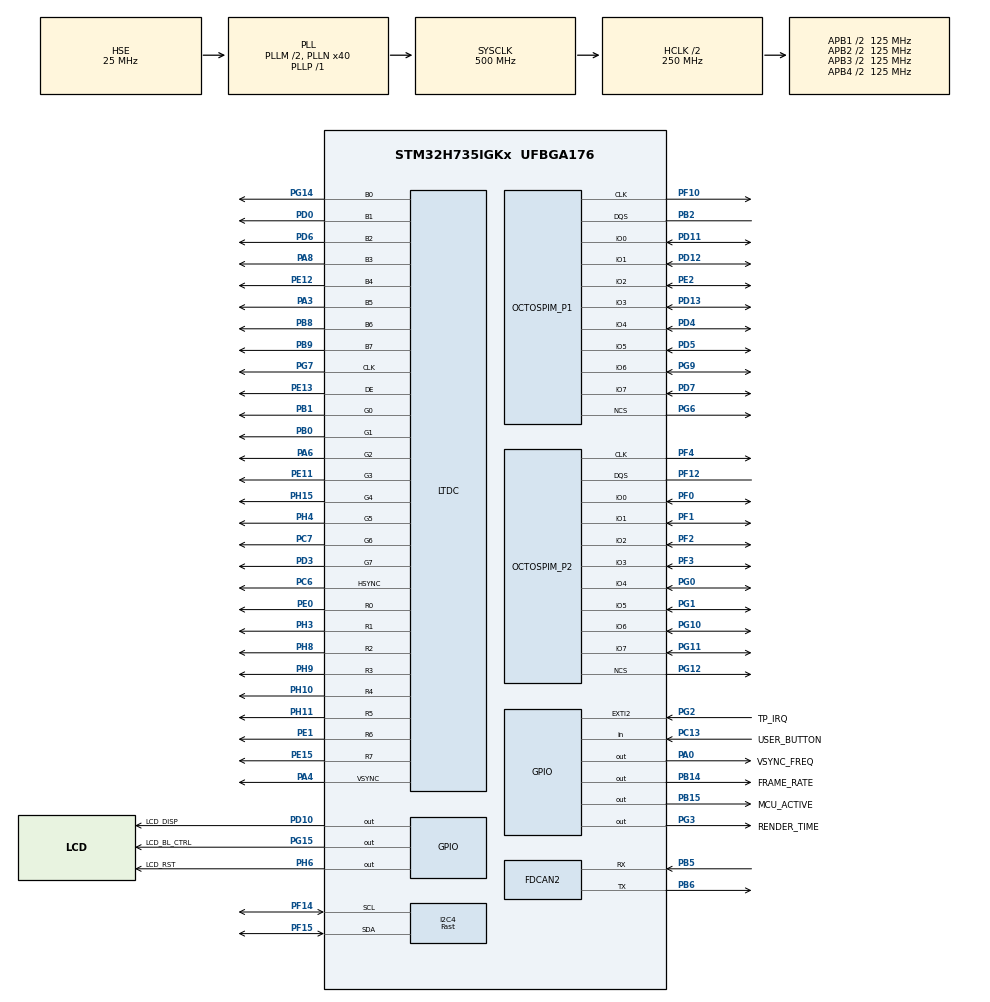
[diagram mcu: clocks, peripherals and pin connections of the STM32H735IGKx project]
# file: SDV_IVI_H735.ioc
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CORTEX_M7.AccessPermission-Cortex_Memory_Protection_Unit_Region0_Settings=MPU_REGION_FULL_ACCESS
CORTEX_M7.AccessPermission-Cortex_Memory_Protection_Unit_Region2_Settings=MPU_REGION_FULL_ACCESS
CORTEX_M7.AccessPermission-Cortex_Memory_Protection_Unit_Region4_Settings=MPU_REGION_FULL_ACCESS
CORTEX_M7.BaseAddress-Cortex_Memory_Protection_Unit_Region0_Settings=0x24000000
CORTEX_M7.BaseAddress-Cortex_Memory_Protection_Unit_Region1_Settings=0x70000000
CORTEX_M7.BaseAddress-Cortex_Memory_Protection_Unit_Region2_Settings=0x70000000
CORTEX_M7.BaseAddress-Cortex_Memory_Protection_Unit_Region3_Settings=0x90000000
CORTEX_M7.BaseAddress-Cortex_Memory_Protection_Unit_Region4_Settings=0x90000000
CORTEX_M7.CPU_DCache=Enabled
CORTEX_M7.CPU_ICache=Enabled
CORTEX_M7.DisableExec-Cortex_Memory_Protection_Unit_Region0_Settings=MPU_INSTRUCTION_ACCESS_DISABLE
CORTEX_M7.DisableExec-Cortex_Memory_Protection_Unit_Region1_Settings=MPU_INSTRUCTION_ACCESS_DISABLE
CORTEX_M7.DisableExec-Cortex_Memory_Protection_Unit_Region2_Settings=MPU_INSTRUCTION_ACCESS_DISABLE
CORTEX_M7.DisableExec-Cortex_Memory_Protection_Unit_Region3_Settings=MPU_INSTRUCTION_ACCESS_DISABLE
CORTEX_M7.DisableExec-Cortex_Memory_Protection_Unit_Region4_Settings=MPU_INSTRUCTION_ACCESS_DISABLE
CORTEX_M7.Enable-Cortex_Memory_Protection_Unit_Region0_Settings=MPU_REGION_ENABLE
CORTEX_M7.Enable-Cortex_Memory_Protection_Unit_Region1_Settings=MPU_REGION_ENABLE
CORTEX_M7.Enable-Cortex_Memory_Protection_Unit_Region2_Settings=MPU_REGION_ENABLE
CORTEX_M7.Enable-Cortex_Memory_Protection_Unit_Region3_Settings=MPU_REGION_ENABLE
CORTEX_M7.Enable-Cortex_Memory_Protection_Unit_Region4_Settings=MPU_REGION_ENABLE
CORTEX_M7.IsBufferable-Cortex_Memory_Protection_Unit_Region0_Settings=MPU_ACCESS_BUFFERABLE
CORTEX_M7.IsBufferable-Cortex_Memory_Protection_Unit_Region2_Settings=MPU_ACCESS_BUFFERABLE
CORTEX_M7.IsCacheable-Cortex_Memory_Protection_Unit_Region0_Settings=MPU_ACCESS_CACHEABLE
CORTEX_M7.IsCacheable-Cortex_Memory_Protection_Unit_Region2_Settings=MPU_ACCESS_CACHEABLE
CORTEX_M7.IsCacheable-Cortex_Memory_Protection_Unit_Region4_Settings=MPU_ACCESS_CACHEABLE
CORTEX_M7.MPU_Control=MPU_PRIVILEGED_DEFAULT
CORTEX_M7.Size-Cortex_Memory_Protection_Unit_Region0_Settings=MPU_REGION_SIZE_512KB
CORTEX_M7.Size-Cortex_Memory_Protection_Unit_Region1_Settings=MPU_REGION_SIZE_512MB
CORTEX_M7.Size-Cortex_Memory_Protection_Unit_Region2_Settings=MPU_REGION_SIZE_16MB
CORTEX_M7.Size-Cortex_Memory_Protection_Unit_Region3_Settings=MPU_REGION_SIZE_512MB
CORTEX_M7.Size-Cortex_Memory_Protection_Unit_Region4_Settings=MPU_REGION_SIZE_64MB
DMA2D.ColorMode=DMA2D_OUTPUT_RGB888
DMA2D.Mode=DMA2D_R2M
FDCAN2.CalculateBaudRateNominal=500000
FDCAN2.CalculateTimeBitNominal=2000
FDCAN2.CalculateTimeQuantumNominal=200.0
FDCAN2.DataTimeSeg1=7
FDCAN2.DataTimeSeg2=2
FDCAN2.Mode=FDCAN_MODE_INTERNAL_LOOPBACK
FDCAN2.NominalPrescaler=5
FDCAN2.NominalTimeSeg1=7
FDCAN2.NominalTimeSeg2=2
FDCAN2.RxFifo0ElmtsNbr=8
FDCAN2.StdFiltersNbr=1
FDCAN2.TxFifoQueueElmtsNbr=8
FREERTOS.Tasks01=defaultTask,24,128,StartDefaultTask,Default,NULL,Dynamic,NULL,NULL;TouchGFXTask,24,1024,TouchGFX_Task,As external,NULL,Dynamic,NULL,NULL;videoTask,8,1024,videoTaskFunc,As external,NULL,Dynamic,NULL,NULL
FREERTOS.configTOTAL_HEAP_SIZE=75000
FREERTOS.configUSE_APPLICATION_TASK_TAG=1
FREERTOS.configUSE_IDLE_HOOK=1
FREERTOS.configUSE_NEWLIB_REENTRANT=1
I2C4.I2C_Speed_Mode=I2C_Fast
I2C4.Timing=0x00C042E4
LIBJPEG.RGB_ORDERING=BGR
LTDC.ActiveH=272
LTDC.ActiveW=480
LTDC.Alpha_L0=255
LTDC.FBStartAdress_L0=0x70000000
LTDC.FBStartAdress_L1=0x70000000
LTDC.HBP=13
LTDC.HFP=32
LTDC.HSync=41
LTDC.ImageHeight_L0=272
LTDC.ImageWidth_L0=480
LTDC.Layers=0
LTDC.PixelFormat_L0=LTDC_PIXEL_FORMAT_RGB888
LTDC.VSync=10
LTDC.WindowX1_L0=480
LTDC.WindowY1_L0=272
Mcu.Family=STM32H7
Mcu.Name=STM32H735IGKx
Mcu.Package=UFBGA176
NVIC.DMA2D_IRQn=true\:5\:0\:true\:false\:true\:false\:true\:true\:true
NVIC.EXTI2_IRQn=true\:5\:0\:false\:false\:true\:true\:true\:true\:true
NVIC.FDCAN2_IT0_IRQn=true\:5\:0\:false\:false\:true\:true\:true\:true\:true
NVIC.LTDC_IRQn=true\:5\:0\:true\:false\:true\:false\:true\:true\:true
NVIC.PriorityGroup=NVIC_PRIORITYGROUP_4
NVIC.TIM6_DAC_IRQn=true\:0\:0\:false\:false\:true\:false\:false\:true\:true
NVIC.TimeBase=TIM6_DAC_IRQn
NVIC.TimeBaseIP=TIM6
OCTOSPI1.ChipSelectBoundary=0
OCTOSPI1.ChipSelectHighTime=2
OCTOSPI1.ClockPrescaler=2
OCTOSPI1.FifoThreshold=4
OCTOSPI1.MemoryType=HAL_OSPI_MEMTYPE_MACRONIX
OCTOSPI2.AccessTime=6
OCTOSPI2.ChipSelectBoundary=23
OCTOSPI2.ChipSelectHighTime=4
OCTOSPI2.ClkChipSelectHighTime=0
OCTOSPI2.ClockPrescaler=2
OCTOSPI2.DelayBlockBypass=HAL_OSPI_DELAY_BLOCK_USED
OCTOSPI2.DelayHoldQuarterCycle=HAL_OSPI_DHQC_ENABLE
OCTOSPI2.DeviceSize=24
OCTOSPI2.FifoThreshold=4
OCTOSPI2.LatencyMode=HAL_OSPI_FIXED_LATENCY
OCTOSPI2.RWRecoveryTime=3
OCTOSPI2.Refresh=400
OCTOSPI2.WriteZeroLatency=HAL_OSPI_LATENCY_ON_WRITE
PA0.GPIO_Label=VSYNC_FREQ
PA0.GPIO_Speed=GPIO_SPEED_FREQ_VERY_HIGH
PA0.Signal=GPIO_Output
PA3.GPIO_Speed=GPIO_SPEED_FREQ_VERY_HIGH
PA3.Mode=RGB888
PA3.Signal=LTDC_B5
PA4.GPIO_Speed=GPIO_SPEED_FREQ_VERY_HIGH
PA4.Mode=RGB888
PA4.Signal=LTDC_VSYNC
PA6.GPIO_Speed=GPIO_SPEED_FREQ_VERY_HIGH
PA6.Mode=RGB888
PA6.Signal=LTDC_G2
PA8.GPIO_Speed=GPIO_SPEED_FREQ_VERY_HIGH
PA8.Mode=RGB888
PA8.Signal=LTDC_B3
PB0.GPIO_Speed=GPIO_SPEED_FREQ_VERY_HIGH
PB0.Mode=RGB888
PB0.Signal=LTDC_G1
PB1.GPIO_Speed=GPIO_SPEED_FREQ_VERY_HIGH
PB1.Mode=RGB888
PB1.Signal=LTDC_G0
PB14.GPIO_Label=FRAME_RATE
PB14.GPIO_Speed=GPIO_SPEED_FREQ_VERY_HIGH
PB14.Signal=GPIO_Output
PB15.GPIO_Label=MCU_ACTIVE
PB15.GPIO_Speed=GPIO_SPEED_FREQ_VERY_HIGH
PB15.Signal=GPIO_Output
PB2.Mode=OCTOSPI1_Port1_DQS
PB2.Signal=OCTOSPIM_P1_DQS
PB5.Mode=FDCAN_Activate
PB5.Signal=FDCAN2_RX
PB6.Mode=FDCAN_Activate
PB6.Signal=FDCAN2_TX
PB8.GPIO_Speed=GPIO_SPEED_FREQ_VERY_HIGH
PB8.Mode=RGB888
PB8.Signal=LTDC_B6
PB9.GPIO_Speed=GPIO_SPEED_FREQ_VERY_HIGH
PB9.Mode=RGB888
PB9.Signal=LTDC_B7
PC13.GPIO_Label=USER_BUTTON
PC13.Signal=GPIO_Input
PC6.GPIO_Speed=GPIO_SPEED_FREQ_VERY_HIGH
PC6.Mode=RGB888
PC6.Signal=LTDC_HSYNC
PC7.GPIO_Speed=GPIO_SPEED_FREQ_VERY_HIGH
PC7.Mode=RGB888
PC7.Signal=LTDC_G6
PD0.GPIO_Speed=GPIO_SPEED_FREQ_VERY_HIGH
PD0.Mode=RGB888
PD0.Signal=LTDC_B1
PD10.GPIO_Label=LCD_DISP
PD10.GPIO_PuPd=GPIO_NOPULL
PD10.GPIO_Speed=GPIO_SPEED_FREQ_LOW
PD10.PinState=GPIO_PIN_RESET
PD10.Signal=GPIO_Output
PD11.Mode=OCTOSPI1_IOL_Port1L
PD11.Signal=OCTOSPIM_P1_IO0
PD12.Mode=OCTOSPI1_IOL_Port1L
PD12.Signal=OCTOSPIM_P1_IO1
PD13.Mode=OCTOSPI1_IOL_Port1L
PD13.Signal=OCTOSPIM_P1_IO3
PD3.GPIO_Speed=GPIO_SPEED_FREQ_VERY_HIGH
PD3.Mode=RGB888
PD3.Signal=LTDC_G7
PD4.Mode=OCTOSPI1_IOH_Port1H
PD4.Signal=OCTOSPIM_P1_IO4
PD5.Mode=OCTOSPI1_IOH_Port1H
PD5.Signal=OCTOSPIM_P1_IO5
PD6.GPIO_Speed=GPIO_SPEED_FREQ_VERY_HIGH
PD6.Mode=RGB888
PD6.Signal=LTDC_B2
PD7.Mode=OCTOSPI1_IOH_Port1H
PD7.Signal=OCTOSPIM_P1_IO7
PE0.GPIO_Speed=GPIO_SPEED_FREQ_VERY_HIGH
PE0.Mode=RGB888
PE0.Signal=LTDC_R0
PE1.GPIO_Speed=GPIO_SPEED_FREQ_VERY_HIGH
PE1.Mode=RGB888
PE1.Signal=LTDC_R6
PE11.GPIO_Speed=GPIO_SPEED_FREQ_VERY_HIGH
PE11.Mode=RGB888
PE11.Signal=LTDC_G3
PE12.GPIO_Speed=GPIO_SPEED_FREQ_VERY_HIGH
PE12.Mode=RGB888
PE12.Signal=LTDC_B4
PE13.GPIO_Speed=GPIO_SPEED_FREQ_VERY_HIGH
PE13.Mode=RGB888
PE13.Signal=LTDC_DE
PE15.GPIO_Speed=GPIO_SPEED_FREQ_VERY_HIGH
PE15.Mode=RGB888
PE15.Signal=LTDC_R7
PE2.Mode=OCTOSPI1_IOL_Port1L
PE2.Signal=OCTOSPIM_P1_IO2
PF0.Mode=OCTOSPI2_IOL_Port2L
PF0.Signal=OCTOSPIM_P2_IO0
PF1.Mode=OCTOSPI2_IOL_Port2L
PF1.Signal=OCTOSPIM_P2_IO1
PF10.Mode=O1_P1_CLK
PF10.Signal=OCTOSPIM_P1_CLK
PF12.Mode=OCTOSPI2_Port2_DQS
PF12.Signal=OCTOSPIM_P2_DQS
PF14.Mode=I2C
PF14.Signal=I2C4_SCL
PF15.Mode=I2C
PF15.Signal=I2C4_SDA
PF2.Mode=OCTOSPI2_IOL_Port2L
PF2.Signal=OCTOSPIM_P2_IO2
PF3.Mode=OCTOSPI2_IOL_Port2L
PF3.Signal=OCTOSPIM_P2_IO3
PF4.Mode=O2_P2_CLK
PF4.Signal=OCTOSPIM_P2_CLK
PG0.Mode=OCTOSPI2_IOH_Port2H
PG0.Signal=OCTOSPIM_P2_IO4
PG1.Mode=OCTOSPI2_IOH_Port2H
PG1.Signal=OCTOSPIM_P2_IO5
PG10.Mode=OCTOSPI2_IOH_Port2H
PG10.Signal=OCTOSPIM_P2_IO6
PG11.Mode=OCTOSPI2_IOH_Port2H
PG11.Signal=OCTOSPIM_P2_IO7
PG12.Mode=OCTOSPI2_Port2_NCS
PG12.Signal=OCTOSPIM_P2_NCS
PG14.GPIO_Speed=GPIO_SPEED_FREQ_VERY_HIGH
PG14.Mode=RGB888
PG14.Signal=LTDC_B0
PG15.GPIO_Label=LCD_BL_CTRL
PG15.Signal=GPIO_Output
PG2.GPIO_Label=TP_IRQ
PG2.GPIO_ModeDefaultEXTI=GPIO_MODE_IT_FALLING
PG2.GPIO_PuPd=GPIO_PULLDOWN
PG2.Signal=GPXTI2
PG3.GPIO_Label=RENDER_TIME
PG3.GPIO_Speed=GPIO_SPEED_FREQ_VERY_HIGH
PG3.Signal=GPIO_Output
PG6.Mode=OCTOSPI1_Port1_NCS
PG6.Signal=OCTOSPIM_P1_NCS
PG7.GPIO_Speed=GPIO_SPEED_FREQ_VERY_HIGH
PG7.Mode=RGB888
PG7.Signal=LTDC_CLK
PG9.Mode=OCTOSPI1_IOH_Port1H
PG9.Signal=OCTOSPIM_P1_IO6
PH0-OSC_IN.Mode=HSE-External-Oscillator
PH0-OSC_IN.Signal=RCC_OSC_IN
PH1-OSC_OUT.Mode=HSE-External-Oscillator
PH1-OSC_OUT.Signal=RCC_OSC_OUT
PH10.GPIO_Speed=GPIO_SPEED_FREQ_VERY_HIGH
PH10.Mode=RGB888
PH10.Signal=LTDC_R4
PH11.GPIO_Speed=GPIO_SPEED_FREQ_VERY_HIGH
PH11.Mode=RGB888
PH11.Signal=LTDC_R5
PH15.GPIO_Speed=GPIO_SPEED_FREQ_VERY_HIGH
PH15.Mode=RGB888
PH15.Signal=LTDC_G4
PH3.GPIO_Speed=GPIO_SPEED_FREQ_VERY_HIGH
PH3.Mode=RGB888
PH3.Signal=LTDC_R1
PH4.GPIO_Speed=GPIO_SPEED_FREQ_VERY_HIGH
PH4.Mode=RGB888
PH4.Signal=LTDC_G5
PH6.GPIO_Label=LCD_RST
PH6.Signal=GPIO_Output
PH8.GPIO_Speed=GPIO_SPEED_FREQ_VERY_HIGH
PH8.Mode=RGB888
PH8.Signal=LTDC_R2
PH9.GPIO_Speed=GPIO_SPEED_FREQ_VERY_HIGH
PH9.Mode=RGB888
PH9.Signal=LTDC_R3
ProjectManager.HeapSize=0x1000
ProjectManager.StackSize=0x1000
ProjectManager.TargetToolchain=STM32CubeIDE
RCC.ADCFreq_Value=100000000
RCC.APB1Freq_Value=125000000
RCC.APB2Freq_Value=125000000
RCC.APB3Freq_Value=125000000
RCC.APB4Freq_Value=125000000
RCC.CortexFreq_Value=500000000
RCC.D1PPRE=RCC_APB3_DIV2
RCC.D2PPRE1=RCC_APB1_DIV2
RCC.D2PPRE2=RCC_APB2_DIV2
RCC.D3PPRE=RCC_APB4_DIV2
RCC.DIVM1=2
RCC.DIVM2=2
RCC.DIVM3=25
RCC.DIVN1=40
RCC.DIVN2=16
RCC.DIVN3=288
RCC.DIVP1=1
RCC.DIVR2=1
RCC.DIVR3=30
RCC.FDCANCLockSelection=RCC_FDCANCLKSOURCE_HSE
RCC.HCLKFreq_Value=250000000
RCC.HPRE=RCC_HCLK_DIV2
RCC.PLL2FRACN=0
RCC.PLL3FRACN=0
RCC.PLLFRACN=0
RCC.PLLSourceVirtual=RCC_PLLSOURCE_HSE
RCC.QSPICLockSelection=RCC_OSPICLKSOURCE_PLL2
RCC.SYSCLKFreq_VALUE=500000000
RCC.SYSCLKSource=RCC_SYSCLKSOURCE_PLLCLK
RCC.SupplySource=PWR_DIRECT_SMPS_SUPPLY
RCC.USBFreq_Value=250000000
STMicroelectronics.X-CUBE-TOUCHGFX.4.26.1.ApplicationCcGraphicsJjApplication=TouchGFXOoGenerator
STMicroelectronics.X-CUBE-TOUCHGFX.4.26.1.tgfx_address1=0x70000000
STMicroelectronics.X-CUBE-TOUCHGFX.4.26.1.tgfx_address2=0x70060000
STMicroelectronics.X-CUBE-TOUCHGFX.4.26.1.tgfx_buffering_strategy=Double
STMicroelectronics.X-CUBE-TOUCHGFX.4.26.1.tgfx_display_interface=disp_ltdc
STMicroelectronics.X-CUBE-TOUCHGFX.4.26.1.tgfx_hardware_accelerator=dma_2d
STMicroelectronics.X-CUBE-TOUCHGFX.4.26.1.tgfx_location=Allocate
STMicroelectronics.X-CUBE-TOUCHGFX.4.26.1.tgfx_vector_fonts=Enabled
STMicroelectronics.X-CUBE-TOUCHGFX.4.26.1.tgfx_vector_rendering=Software
STMicroelectronics.X-CUBE-TOUCHGFX.4.26.1.tgfx_video=Software
STMicroelectronics.X-CUBE-TOUCHGFX.4.26.1.tgfx_video_buffer_format=RGB888\:3
STMicroelectronics.X-CUBE-TOUCHGFX.4.26.1.tgfx_video_height=272
STMicroelectronics.X-CUBE-TOUCHGFX.4.26.1.tgfx_video_strategy=1
STMicroelectronics.X-CUBE-TOUCHGFX.4.26.1.tgfx_video_width=480
STMicroelectronics.X-CUBE-TOUCHGFX.4.26.1.tgfx_vsync=vsync_ltdc
VP_CRC_VS_CRC.Mode=CRC_Activate
VP_DMA2D_VS_DMA2D.Mode=DMA2D_Activate
VP_FREERTOS_VS_CMSIS_V2.Mode=CMSIS_V2
VP_LIBJPEG_VS_JPEGLIB.Mode=Enabled
VP_MEMORYMAP_VS_MEMORYMAP.Mode=CurAppReg
VP_OCTOSPI1_VS_octo.Mode=octo_mode
VP_OCTOSPI2_VS_octo.Mode=hyperbus_mode
VP_STMicroelectronics.X-CUBE-TOUCHGFX_VS_GraphicsJjApplication_4.26.1.Mode=GraphicsJjApplication
VP_SYS_VS_tim6.Mode=TIM6
board=custom

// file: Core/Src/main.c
/* USER CODE BEGIN Header */
/**
  ******************************************************************************
  * @file           : main.c
  * @brief          : Main program body
  ******************************************************************************
  * @attention
  *
  * <h2><center>&copy; Copyright (c) 2020 STMicroelectronics.
  * All rights reserved.</center></h2>
  *
  * This software component is licensed by ST under Ultimate Liberty license
  * SLA0044, the "License"; You may not use this file except in compliance with
  * the License. You may obtain a copy of the License at:
  *                             www.st.com/SLA0044
  *
  ******************************************************************************
  */
/* USER CODE END Header */
#include "main.h"
#include "FreeRTOS.h"
#include "cmsis_os2.h"
#include "libjpeg.h"
#include "app_touchgfx.h"

/* USER CODE BEGIN Includes */
#include "stm32h735g_discovery_ospi.h"
#include "stm32h7xx_hal_ospi.h"
#include "vehicle_data.h"
#include "dummy_data_provider.h"
/* USER CODE END Includes */

CRC_HandleTypeDef hcrc;

DMA2D_HandleTypeDef hdma2d;

FDCAN_HandleTypeDef hfdcan2;

I2C_HandleTypeDef hi2c4;

LTDC_HandleTypeDef hltdc;

OSPI_HandleTypeDef hospi1;
OSPI_HandleTypeDef hospi2;

/* Definitions for defaultTask */
osThreadId_t defaultTaskHandle;
const osThreadAttr_t defaultTask_attributes = {
  .name = "defaultTask",
  .stack_size = 128 * 4,
  .priority = (osPriority_t) osPriorityNormal,
};
/* Definitions for TouchGFXTask */
osThreadId_t TouchGFXTaskHandle;
const osThreadAttr_t TouchGFXTask_attributes = {
  .name = "TouchGFXTask",
  .stack_size = 1024 * 4,
  .priority = (osPriority_t) osPriorityNormal,
};
/* Definitions for videoTask */
osThreadId_t videoTaskHandle;
const osThreadAttr_t videoTask_attributes = {
  .name = "videoTask",
  .stack_size = 1024 * 4,
  .priority = (osPriority_t) osPriorityLow,
};
/* USER CODE BEGIN PV */
/* Return address of the last Error_Handler() caller, for post-mortem inspection. */
volatile uint32_t g_error_handler_caller = 0;
/* USER CODE END PV */

void SystemClock_Config(void);
void PeriphCommonClock_Config(void);
static void MPU_Config(void);
static void MX_GPIO_Init(void);
static void MX_CRC_Init(void);
static void MX_DMA2D_Init(void);
static void MX_LTDC_Init(void);
static void MX_OCTOSPI1_Init(void);
static void MX_OCTOSPI2_Init(void);
static void MX_I2C4_Init(void);
static void MX_FDCAN2_Init(void);
void StartDefaultTask(void *argument);
extern void TouchGFX_Task(void *argument);
extern void videoTaskFunc(void *argument);

/* USER CODE BEGIN PFP */
void CanLoopback_Create(void);

/* USER CODE END PFP */

int main(void)
{

  /* MPU Configuration--------------------------------------------------------*/
  MPU_Config();

  /* Enable the CPU Cache */

  /* Enable I-Cache---------------------------------------------------------*/
  SCB_EnableICache();

  /* Enable D-Cache---------------------------------------------------------*/
  SCB_EnableDCache();

  /* MCU Configuration--------------------------------------------------------*/

  /* Reset of all peripherals, Initializes the Flash interface and the Systick. */
  HAL_Init();

  /* Configure the system clock */
  SystemClock_Config();

  /* Configure the peripherals common clocks */
  PeriphCommonClock_Config();

  /* Initialize all configured peripherals */
  MX_GPIO_Init();
  MX_CRC_Init();
  MX_DMA2D_Init();
  MX_LTDC_Init();
  MX_OCTOSPI1_Init();
  MX_OCTOSPI2_Init();
  MX_LIBJPEG_Init();
  MX_I2C4_Init();
  MX_FDCAN2_Init();
  MX_TouchGFX_Init();
  /* Call PreOsInit function */
  MX_TouchGFX_PreOSInit();

  /* Init scheduler */
  osKernelInitialize();

  /* Create the thread(s) */
  /* creation of defaultTask */
  defaultTaskHandle = osThreadNew(StartDefaultTask, NULL, &defaultTask_attributes);

  /* creation of TouchGFXTask */
  TouchGFXTaskHandle = osThreadNew(TouchGFX_Task, NULL, &TouchGFXTask_attributes);

  /* creation of videoTask */
  videoTaskHandle = osThreadNew(videoTaskFunc, NULL, &videoTask_attributes);

  /* USER CODE BEGIN RTOS_THREADS */
  CanLoopback_Create();
  VehicleModel_Create();
  DummyDataProvider_Create();
  /* add threads, ... */
  /* USER CODE END RTOS_THREADS */

  /* Start scheduler */
  osKernelStart();

  /* We should never get here as control is now taken by the scheduler */

  /* Infinite loop */
  while (1)
  {

  }
}

void SystemClock_Config(void)
{
  RCC_OscInitTypeDef RCC_OscInitStruct = {0};
  RCC_ClkInitTypeDef RCC_ClkInitStruct = {0};

  /** Supply configuration update enable
  */
  HAL_PWREx_ConfigSupply(PWR_DIRECT_SMPS_SUPPLY);

  /** Configure the main internal regulator output voltage
  */
  __HAL_PWR_VOLTAGESCALING_CONFIG(PWR_REGULATOR_VOLTAGE_SCALE0);

  while(!__HAL_PWR_GET_FLAG(PWR_FLAG_VOSRDY)) {}

  /** Initializes the RCC Oscillators according to the specified parameters
  * in the RCC_OscInitTypeDef structure.
  */
  RCC_OscInitStruct.OscillatorType = RCC_OSCILLATORTYPE_HSE;
  RCC_OscInitStruct.HSEState = RCC_HSE_ON;
  RCC_OscInitStruct.PLL.PLLState = RCC_PLL_ON;
  RCC_OscInitStruct.PLL.PLLSource = RCC_PLLSOURCE_HSE;
  RCC_OscInitStruct.PLL.PLLM = 2;
  RCC_OscInitStruct.PLL.PLLN = 40;
  RCC_OscInitStruct.PLL.PLLP = 1;
  RCC_OscInitStruct.PLL.PLLQ = 2;
  RCC_OscInitStruct.PLL.PLLR = 2;
  RCC_OscInitStruct.PLL.PLLRGE = RCC_PLL1VCIRANGE_3;
  RCC_OscInitStruct.PLL.PLLVCOSEL = RCC_PLL1VCOWIDE;
  RCC_OscInitStruct.PLL.PLLFRACN = 0;
  if (HAL_RCC_OscConfig(&RCC_OscInitStruct) != HAL_OK)
  {
    Error_Handler();
  }

  /** Initializes the CPU, AHB and APB buses clocks
  */
  RCC_ClkInitStruct.ClockType = RCC_CLOCKTYPE_HCLK|RCC_CLOCKTYPE_SYSCLK
                              |RCC_CLOCKTYPE_PCLK1|RCC_CLOCKTYPE_PCLK2
                              |RCC_CLOCKTYPE_D3PCLK1|RCC_CLOCKTYPE_D1PCLK1;
  RCC_ClkInitStruct.SYSCLKSource = RCC_SYSCLKSOURCE_PLLCLK;
  RCC_ClkInitStruct.SYSCLKDivider = RCC_SYSCLK_DIV1;
  RCC_ClkInitStruct.AHBCLKDivider = RCC_HCLK_DIV2;
  RCC_ClkInitStruct.APB3CLKDivider = RCC_APB3_DIV2;
  RCC_ClkInitStruct.APB1CLKDivider = RCC_APB1_DIV2;
  RCC_ClkInitStruct.APB2CLKDivider = RCC_APB2_DIV2;
  RCC_ClkInitStruct.APB4CLKDivider = RCC_APB4_DIV2;

  if (HAL_RCC_ClockConfig(&RCC_ClkInitStruct, FLASH_LATENCY_3) != HAL_OK)
  {
    Error_Handler();
  }
}

void PeriphCommonClock_Config(void)
{
  RCC_PeriphCLKInitTypeDef PeriphClkInitStruct = {0};

  /** Initializes the peripherals clock
  */
  PeriphClkInitStruct.PeriphClockSelection = RCC_PERIPHCLK_OSPI;
  PeriphClkInitStruct.PLL2.PLL2M = 2;
  PeriphClkInitStruct.PLL2.PLL2N = 16;
  PeriphClkInitStruct.PLL2.PLL2P = 2;
  PeriphClkInitStruct.PLL2.PLL2Q = 2;
  PeriphClkInitStruct.PLL2.PLL2R = 1;
  PeriphClkInitStruct.PLL2.PLL2RGE = RCC_PLL2VCIRANGE_3;
  PeriphClkInitStruct.PLL2.PLL2VCOSEL = RCC_PLL2VCOWIDE;
  PeriphClkInitStruct.PLL2.PLL2FRACN = 0;
  PeriphClkInitStruct.OspiClockSelection = RCC_OSPICLKSOURCE_PLL2;
  if (HAL_RCCEx_PeriphCLKConfig(&PeriphClkInitStruct) != HAL_OK)
  {
    Error_Handler();
  }
}

static void MX_CRC_Init(void)
{

  hcrc.Instance = CRC;
  hcrc.Init.DefaultPolynomialUse = DEFAULT_POLYNOMIAL_ENABLE;
  hcrc.Init.DefaultInitValueUse = DEFAULT_INIT_VALUE_ENABLE;
  hcrc.Init.InputDataInversionMode = CRC_INPUTDATA_INVERSION_NONE;
  hcrc.Init.OutputDataInversionMode = CRC_OUTPUTDATA_INVERSION_DISABLE;
  hcrc.InputDataFormat = CRC_INPUTDATA_FORMAT_BYTES;
  if (HAL_CRC_Init(&hcrc) != HAL_OK)
  {
    Error_Handler();
  }

}

static void MX_DMA2D_Init(void)
{

  hdma2d.Instance = DMA2D;
  hdma2d.Init.Mode = DMA2D_R2M;
  hdma2d.Init.ColorMode = DMA2D_OUTPUT_RGB888;
  hdma2d.Init.OutputOffset = 0;
  if (HAL_DMA2D_Init(&hdma2d) != HAL_OK)
  {
    Error_Handler();
  }

}

static void MX_FDCAN2_Init(void)
{

  hfdcan2.Instance = FDCAN2;
  hfdcan2.Init.FrameFormat = FDCAN_FRAME_CLASSIC;
  hfdcan2.Init.Mode = FDCAN_MODE_INTERNAL_LOOPBACK;
  hfdcan2.Init.AutoRetransmission = DISABLE;
  hfdcan2.Init.TransmitPause = DISABLE;
  hfdcan2.Init.ProtocolException = DISABLE;
  hfdcan2.Init.NominalPrescaler = 5;
  hfdcan2.Init.NominalSyncJumpWidth = 1;
  hfdcan2.Init.NominalTimeSeg1 = 7;
  hfdcan2.Init.NominalTimeSeg2 = 2;
  hfdcan2.Init.DataPrescaler = 1;
  hfdcan2.Init.DataSyncJumpWidth = 1;
  hfdcan2.Init.DataTimeSeg1 = 7;
  hfdcan2.Init.DataTimeSeg2 = 2;
  hfdcan2.Init.MessageRAMOffset = 0;
  hfdcan2.Init.StdFiltersNbr = 1;
  hfdcan2.Init.ExtFiltersNbr = 0;
  hfdcan2.Init.RxFifo0ElmtsNbr = 8;
  hfdcan2.Init.RxFifo0ElmtSize = FDCAN_DATA_BYTES_8;
  hfdcan2.Init.RxFifo1ElmtsNbr = 0;
  hfdcan2.Init.RxFifo1ElmtSize = FDCAN_DATA_BYTES_8;
  hfdcan2.Init.RxBuffersNbr = 0;
  hfdcan2.Init.RxBufferSize = FDCAN_DATA_BYTES_8;
  hfdcan2.Init.TxEventsNbr = 0;
  hfdcan2.Init.TxBuffersNbr = 0;
  hfdcan2.Init.TxFifoQueueElmtsNbr = 8;
  hfdcan2.Init.TxFifoQueueMode = FDCAN_TX_FIFO_OPERATION;
  hfdcan2.Init.TxElmtSize = FDCAN_DATA_BYTES_8;
  if (HAL_FDCAN_Init(&hfdcan2) != HAL_OK)
  {
    Error_Handler();
  }

}

static void MX_I2C4_Init(void)
{

  hi2c4.Instance = I2C4;
  hi2c4.Init.Timing = 0x00C042E4;
  hi2c4.Init.OwnAddress1 = 0;
  hi2c4.Init.AddressingMode = I2C_ADDRESSINGMODE_7BIT;
  hi2c4.Init.DualAddressMode = I2C_DUALADDRESS_DISABLE;
  hi2c4.Init.OwnAddress2 = 0;
  hi2c4.Init.OwnAddress2Masks = I2C_OA2_NOMASK;
  hi2c4.Init.GeneralCallMode = I2C_GENERALCALL_DISABLE;
  hi2c4.Init.NoStretchMode = I2C_NOSTRETCH_DISABLE;
  if (HAL_I2C_Init(&hi2c4) != HAL_OK)
  {
    Error_Handler();
  }

  /** Configure Analogue filter
  */
  if (HAL_I2CEx_ConfigAnalogFilter(&hi2c4, I2C_ANALOGFILTER_ENABLE) != HAL_OK)
  {
    Error_Handler();
  }

  /** Configure Digital filter
  */
  if (HAL_I2CEx_ConfigDigitalFilter(&hi2c4, 0) != HAL_OK)
  {
    Error_Handler();
  }

}

static void MX_LTDC_Init(void)
{

  LTDC_LayerCfgTypeDef pLayerCfg = {0};

  hltdc.Instance = LTDC;
  hltdc.Init.HSPolarity = LTDC_HSPOLARITY_AL;
  hltdc.Init.VSPolarity = LTDC_VSPOLARITY_AL;
  hltdc.Init.DEPolarity = LTDC_DEPOLARITY_AL;
  hltdc.Init.PCPolarity = LTDC_PCPOLARITY_IPC;
  hltdc.Init.HorizontalSync = 40;
  hltdc.Init.VerticalSync = 9;
  hltdc.Init.AccumulatedHBP = 53;
  hltdc.Init.AccumulatedVBP = 11;
  hltdc.Init.AccumulatedActiveW = 533;
  hltdc.Init.AccumulatedActiveH = 283;
  hltdc.Init.TotalWidth = 565;
  hltdc.Init.TotalHeigh = 285;
  hltdc.Init.Backcolor.Blue = 0;
  hltdc.Init.Backcolor.Green = 0;
  hltdc.Init.Backcolor.Red = 0;
  if (HAL_LTDC_Init(&hltdc) != HAL_OK)
  {
    Error_Handler();
  }
  pLayerCfg.WindowX0 = 0;
  pLayerCfg.WindowX1 = 480;
  pLayerCfg.WindowY0 = 0;
  pLayerCfg.WindowY1 = 272;
  pLayerCfg.PixelFormat = LTDC_PIXEL_FORMAT_RGB888;
  pLayerCfg.Alpha = 255;
  pLayerCfg.Alpha0 = 0;
  pLayerCfg.BlendingFactor1 = LTDC_BLENDING_FACTOR1_CA;
  pLayerCfg.BlendingFactor2 = LTDC_BLENDING_FACTOR2_CA;
  pLayerCfg.FBStartAdress = 0x70000000;
  pLayerCfg.ImageWidth = 480;
  pLayerCfg.ImageHeight = 272;
  pLayerCfg.Backcolor.Blue = 0;
  pLayerCfg.Backcolor.Green = 0;
  pLayerCfg.Backcolor.Red = 0;
  if (HAL_LTDC_ConfigLayer(&hltdc, &pLayerCfg, 0) != HAL_OK)
  {
    Error_Handler();
  }

}

static void MX_OCTOSPI1_Init(void)
{

  /* USER CODE BEGIN OCTOSPI1_Init 0 */
  BSP_OSPI_NOR_Init_t ospi_nor_int;
  /* USER CODE END OCTOSPI1_Init 0 */

  OSPIM_CfgTypeDef sOspiManagerCfg = {0};

  /* OCTOSPI1 parameter configuration*/
  hospi1.Instance = OCTOSPI1;
  hospi1.Init.FifoThreshold = 4;
  hospi1.Init.DualQuad = HAL_OSPI_DUALQUAD_DISABLE;
  hospi1.Init.MemoryType = HAL_OSPI_MEMTYPE_MACRONIX;
  hospi1.Init.DeviceSize = 32;
  hospi1.Init.ChipSelectHighTime = 2;
  hospi1.Init.FreeRunningClock = HAL_OSPI_FREERUNCLK_DISABLE;
  hospi1.Init.ClockMode = HAL_OSPI_CLOCK_MODE_0;
  hospi1.Init.WrapSize = HAL_OSPI_WRAP_NOT_SUPPORTED;
  hospi1.Init.ClockPrescaler = 2;
  hospi1.Init.SampleShifting = HAL_OSPI_SAMPLE_SHIFTING_NONE;
  hospi1.Init.DelayHoldQuarterCycle = HAL_OSPI_DHQC_DISABLE;
  hospi1.Init.ChipSelectBoundary = 0;
  hospi1.Init.DelayBlockBypass = HAL_OSPI_DELAY_BLOCK_BYPASSED;
  hospi1.Init.MaxTran = 0;
  hospi1.Init.Refresh = 0;
  if (HAL_OSPI_Init(&hospi1) != HAL_OK)
  {
    Error_Handler();
  }
  sOspiManagerCfg.ClkPort = 1;
  sOspiManagerCfg.DQSPort = 1;
  sOspiManagerCfg.NCSPort = 1;
  sOspiManagerCfg.IOLowPort = HAL_OSPIM_IOPORT_1_LOW;
  sOspiManagerCfg.IOHighPort = HAL_OSPIM_IOPORT_1_HIGH;
  if (HAL_OSPIM_Config(&hospi1, &sOspiManagerCfg, HAL_OSPI_TIMEOUT_DEFAULT_VALUE) != HAL_OK)
  {
    Error_Handler();
  }
  /* USER CODE BEGIN OCTOSPI1_Init 2 */
  HAL_OSPI_DeInit(&hospi1);
  ospi_nor_int.InterfaceMode = BSP_OSPI_NOR_OPI_MODE;
  ospi_nor_int.TransferRate  = BSP_OSPI_NOR_DTR_TRANSFER;
  BSP_OSPI_NOR_DeInit(0);
  if(BSP_OSPI_NOR_Init(0, &ospi_nor_int) != BSP_ERROR_NONE)
  {
    Error_Handler();
  }
  if(BSP_OSPI_NOR_EnableMemoryMappedMode(0) != BSP_ERROR_NONE)
  {
    Error_Handler();
  }
  /* USER CODE END OCTOSPI1_Init 2 */

}

static void MX_OCTOSPI2_Init(void)
{

  OSPIM_CfgTypeDef sOspiManagerCfg = {0};
  OSPI_HyperbusCfgTypeDef sHyperBusCfg = {0};

  /* USER CODE BEGIN OCTOSPI2_Init 1 */
  OSPI_HyperbusCmdTypeDef sCommand = {0};
  OSPI_MemoryMappedTypeDef sMemMappedCfg = {0};
  /* USER CODE END OCTOSPI2_Init 1 */
  /* OCTOSPI2 parameter configuration*/
  hospi2.Instance = OCTOSPI2;
  hospi2.Init.FifoThreshold = 4;
  hospi2.Init.DualQuad = HAL_OSPI_DUALQUAD_DISABLE;
  hospi2.Init.MemoryType = HAL_OSPI_MEMTYPE_HYPERBUS;
  hospi2.Init.DeviceSize = 24;
  hospi2.Init.ChipSelectHighTime = 4;
  hospi2.Init.FreeRunningClock = HAL_OSPI_FREERUNCLK_DISABLE;
  hospi2.Init.ClockMode = HAL_OSPI_CLOCK_MODE_0;
  hospi2.Init.WrapSize = HAL_OSPI_WRAP_NOT_SUPPORTED;
  hospi2.Init.ClockPrescaler = 2;
  hospi2.Init.SampleShifting = HAL_OSPI_SAMPLE_SHIFTING_NONE;
  hospi2.Init.DelayHoldQuarterCycle = HAL_OSPI_DHQC_ENABLE;
  hospi2.Init.ChipSelectBoundary = 23;
  hospi2.Init.DelayBlockBypass = HAL_OSPI_DELAY_BLOCK_USED;
  hospi2.Init.MaxTran = 0;
  hospi2.Init.Refresh = 400;
  if (HAL_OSPI_Init(&hospi2) != HAL_OK)
  {
    Error_Handler();
  }
  sOspiManagerCfg.ClkPort = 2;
  sOspiManagerCfg.DQSPort = 2;
  sOspiManagerCfg.NCSPort = 2;
  sOspiManagerCfg.IOLowPort = HAL_OSPIM_IOPORT_2_LOW;
  sOspiManagerCfg.IOHighPort = HAL_OSPIM_IOPORT_2_HIGH;
  if (HAL_OSPIM_Config(&hospi2, &sOspiManagerCfg, HAL_OSPI_TIMEOUT_DEFAULT_VALUE) != HAL_OK)
  {
    Error_Handler();
  }
  sHyperBusCfg.RWRecoveryTime = 3;
  sHyperBusCfg.AccessTime = 6;
  sHyperBusCfg.WriteZeroLatency = HAL_OSPI_LATENCY_ON_WRITE;
  sHyperBusCfg.LatencyMode = HAL_OSPI_FIXED_LATENCY;
  if (HAL_OSPI_HyperbusCfg(&hospi2, &sHyperBusCfg, HAL_OSPI_TIMEOUT_DEFAULT_VALUE) != HAL_OK)
  {
    Error_Handler();
  }
  /* USER CODE BEGIN OCTOSPI2_Init 2 */
  sCommand.AddressSpace = HAL_OSPI_MEMORY_ADDRESS_SPACE;
  sCommand.AddressSize  = HAL_OSPI_ADDRESS_32_BITS;
  sCommand.DQSMode      = HAL_OSPI_DQS_ENABLE;
  sCommand.Address      = 0;
  sCommand.NbData       = 1;

  if (HAL_OSPI_HyperbusCmd(&hospi2, &sCommand, HAL_OSPI_TIMEOUT_DEFAULT_VALUE) != HAL_OK)
  {
    Error_Handler();
  }

  sMemMappedCfg.TimeOutActivation = HAL_OSPI_TIMEOUT_COUNTER_DISABLE;

  if (HAL_OSPI_MemoryMapped(&hospi2, &sMemMappedCfg) != HAL_OK)
  {
    Error_Handler();
  }

  /* USER CODE END OCTOSPI2_Init 2 */

}

static void MX_GPIO_Init(void)
{
  GPIO_InitTypeDef GPIO_InitStruct = {0};

  /* GPIO Ports Clock Enable */
  __HAL_RCC_GPIOB_CLK_ENABLE();
  __HAL_RCC_GPIOG_CLK_ENABLE();
  __HAL_RCC_GPIOD_CLK_ENABLE();
  __HAL_RCC_GPIOE_CLK_ENABLE();
  __HAL_RCC_GPIOA_CLK_ENABLE();
  __HAL_RCC_GPIOC_CLK_ENABLE();
  __HAL_RCC_GPIOH_CLK_ENABLE();
  __HAL_RCC_GPIOF_CLK_ENABLE();

  /*Configure GPIO pin Output Level */
  HAL_GPIO_WritePin(GPIOG, LCD_BL_CTRL_Pin|RENDER_TIME_Pin, GPIO_PIN_RESET);

  /*Configure GPIO pin Output Level */
  HAL_GPIO_WritePin(GPIOB, MCU_ACTIVE_Pin|FRAME_RATE_Pin, GPIO_PIN_RESET);

  /*Configure GPIO pin Output Level */
  HAL_GPIO_WritePin(LCD_DISP_GPIO_Port, LCD_DISP_Pin, GPIO_PIN_RESET);

  /*Configure GPIO pin Output Level */
  HAL_GPIO_WritePin(VSYNC_FREQ_GPIO_Port, VSYNC_FREQ_Pin, GPIO_PIN_RESET);

  /*Configure GPIO pin Output Level */
  HAL_GPIO_WritePin(LCD_RST_GPIO_Port, LCD_RST_Pin, GPIO_PIN_RESET);

  /*Configure GPIO pin : USER_BUTTON_Pin */
  GPIO_InitStruct.Pin = USER_BUTTON_Pin;
  GPIO_InitStruct.Mode = GPIO_MODE_INPUT;
  GPIO_InitStruct.Pull = GPIO_NOPULL;
  HAL_GPIO_Init(USER_BUTTON_GPIO_Port, &GPIO_InitStruct);

  /*Configure GPIO pin : LCD_BL_CTRL_Pin */
  GPIO_InitStruct.Pin = LCD_BL_CTRL_Pin;
  GPIO_InitStruct.Mode = GPIO_MODE_OUTPUT_PP;
  GPIO_InitStruct.Pull = GPIO_NOPULL;
  GPIO_InitStruct.Speed = GPIO_SPEED_FREQ_LOW;
  HAL_GPIO_Init(LCD_BL_CTRL_GPIO_Port, &GPIO_InitStruct);

  /*Configure GPIO pin : TP_IRQ_Pin */
  GPIO_InitStruct.Pin = TP_IRQ_Pin;
  GPIO_InitStruct.Mode = GPIO_MODE_IT_FALLING;
  GPIO_InitStruct.Pull = GPIO_PULLDOWN;
  HAL_GPIO_Init(TP_IRQ_GPIO_Port, &GPIO_InitStruct);

  /*Configure GPIO pin : RENDER_TIME_Pin */
  GPIO_InitStruct.Pin = RENDER_TIME_Pin;
  GPIO_InitStruct.Mode = GPIO_MODE_OUTPUT_PP;
  GPIO_InitStruct.Pull = GPIO_NOPULL;
  GPIO_InitStruct.Speed = GPIO_SPEED_FREQ_VERY_HIGH;
  HAL_GPIO_Init(RENDER_TIME_GPIO_Port, &GPIO_InitStruct);

  /*Configure GPIO pins : MCU_ACTIVE_Pin FRAME_RATE_Pin */
  GPIO_InitStruct.Pin = MCU_ACTIVE_Pin|FRAME_RATE_Pin;
  GPIO_InitStruct.Mode = GPIO_MODE_OUTPUT_PP;
  GPIO_InitStruct.Pull = GPIO_NOPULL;
  GPIO_InitStruct.Speed = GPIO_SPEED_FREQ_VERY_HIGH;
  HAL_GPIO_Init(GPIOB, &GPIO_InitStruct);

  /*Configure GPIO pin : LCD_DISP_Pin */
  GPIO_InitStruct.Pin = LCD_DISP_Pin;
  GPIO_InitStruct.Mode = GPIO_MODE_OUTPUT_PP;
  GPIO_InitStruct.Pull = GPIO_NOPULL;
  GPIO_InitStruct.Speed = GPIO_SPEED_FREQ_LOW;
  HAL_GPIO_Init(LCD_DISP_GPIO_Port, &GPIO_InitStruct);

  /*Configure GPIO pin : VSYNC_FREQ_Pin */
  GPIO_InitStruct.Pin = VSYNC_FREQ_Pin;
  GPIO_InitStruct.Mode = GPIO_MODE_OUTPUT_PP;
  GPIO_InitStruct.Pull = GPIO_NOPULL;
  GPIO_InitStruct.Speed = GPIO_SPEED_FREQ_VERY_HIGH;
  HAL_GPIO_Init(VSYNC_FREQ_GPIO_Port, &GPIO_InitStruct);

  /*Configure GPIO pin : LCD_RST_Pin */
  GPIO_InitStruct.Pin = LCD_RST_Pin;
  GPIO_InitStruct.Mode = GPIO_MODE_OUTPUT_PP;
  GPIO_InitStruct.Pull = GPIO_NOPULL;
  GPIO_InitStruct.Speed = GPIO_SPEED_FREQ_LOW;
  HAL_GPIO_Init(LCD_RST_GPIO_Port, &GPIO_InitStruct);

  /*AnalogSwitch Config */
  HAL_SYSCFG_AnalogSwitchConfig(SYSCFG_SWITCH_PA0, SYSCFG_SWITCH_PA0_CLOSE);

  /* EXTI interrupt init*/
  HAL_NVIC_SetPriority(TP_IRQ_EXTI_IRQn, 5, 0);
  HAL_NVIC_EnableIRQ(TP_IRQ_EXTI_IRQn);

  /* USER CODE BEGIN MX_GPIO_Init_2 */
  HAL_Delay(1);
  HAL_GPIO_WritePin(LCD_RST_GPIO_Port, LCD_RST_Pin, GPIO_PIN_SET);
  /* USER CODE END MX_GPIO_Init_2 */
}

void StartDefaultTask(void *argument)
{
  /* USER CODE BEGIN 5 */
  /* Infinite loop */
  for(;;)
  {
    osDelay(100);
  }
  /* USER CODE END 5 */
}

 /* MPU Configuration */

void MPU_Config(void)
{
  MPU_Region_InitTypeDef MPU_InitStruct = {0};

  /* Disables the MPU */
  HAL_MPU_Disable();

  /** Initializes and configures the Region and the memory to be protected
  */
  MPU_InitStruct.Enable = MPU_REGION_ENABLE;
  MPU_InitStruct.Number = MPU_REGION_NUMBER0;
  MPU_InitStruct.BaseAddress = 0x24000000;
  MPU_InitStruct.Size = MPU_REGION_SIZE_512KB;
  MPU_InitStruct.SubRegionDisable = 0x0;
  MPU_InitStruct.TypeExtField = MPU_TEX_LEVEL0;
  MPU_InitStruct.AccessPermission = MPU_REGION_FULL_ACCESS;
  MPU_InitStruct.DisableExec = MPU_INSTRUCTION_ACCESS_DISABLE;
  MPU_InitStruct.IsShareable = MPU_ACCESS_NOT_SHAREABLE;
  MPU_InitStruct.IsCacheable = MPU_ACCESS_CACHEABLE;
  MPU_InitStruct.IsBufferable = MPU_ACCESS_BUFFERABLE;

  HAL_MPU_ConfigRegion(&MPU_InitStruct);

  /** Initializes and configures the Region and the memory to be protected
  */
  MPU_InitStruct.Number = MPU_REGION_NUMBER1;
  MPU_InitStruct.BaseAddress = 0x70000000;
  MPU_InitStruct.Size = MPU_REGION_SIZE_512MB;
  MPU_InitStruct.AccessPermission = MPU_REGION_NO_ACCESS;
  MPU_InitStruct.IsCacheable = MPU_ACCESS_NOT_CACHEABLE;
  MPU_InitStruct.IsBufferable = MPU_ACCESS_NOT_BUFFERABLE;

  HAL_MPU_ConfigRegion(&MPU_InitStruct);

  /** Initializes and configures the Region and the memory to be protected
  */
  MPU_InitStruct.Number = MPU_REGION_NUMBER2;
  MPU_InitStruct.Size = MPU_REGION_SIZE_16MB;
  MPU_InitStruct.AccessPermission = MPU_REGION_FULL_ACCESS;
  MPU_InitStruct.IsCacheable = MPU_ACCESS_CACHEABLE;
  MPU_InitStruct.IsBufferable = MPU_ACCESS_BUFFERABLE;

  HAL_MPU_ConfigRegion(&MPU_InitStruct);

  /** Initializes and configures the Region and the memory to be protected
  */
  MPU_InitStruct.Number = MPU_REGION_NUMBER3;
  MPU_InitStruct.BaseAddress = 0x90000000;
  MPU_InitStruct.Size = MPU_REGION_SIZE_512MB;
  MPU_InitStruct.AccessPermission = MPU_REGION_NO_ACCESS;
  MPU_InitStruct.IsCacheable = MPU_ACCESS_NOT_CACHEABLE;
  MPU_InitStruct.IsBufferable = MPU_ACCESS_NOT_BUFFERABLE;

  HAL_MPU_ConfigRegion(&MPU_InitStruct);

  /** Initializes and configures the Region and the memory to be protected
  */
  MPU_InitStruct.Number = MPU_REGION_NUMBER4;
  MPU_InitStruct.Size = MPU_REGION_SIZE_64MB;
  MPU_InitStruct.AccessPermission = MPU_REGION_FULL_ACCESS;
  MPU_InitStruct.IsCacheable = MPU_ACCESS_CACHEABLE;

  HAL_MPU_ConfigRegion(&MPU_InitStruct);
  /* Enables the MPU */
  HAL_MPU_Enable(MPU_PRIVILEGED_DEFAULT);

}

void HAL_TIM_PeriodElapsedCallback(TIM_HandleTypeDef *htim)
{
  if (htim->Instance == TIM6)
  {
    HAL_IncTick();
  }
}

void Error_Handler(void)
{
  /* USER CODE BEGIN Error_Handler_Debug */
  /* User can add his own implementation to report the HAL error return state */

  /* Record where we failed so the halt can be diagnosed without a live
     debugger (inspect g_error_handler_caller in a crash dump / RAM view). */
  g_error_handler_caller = (uint32_t)__builtin_return_address(0);

  __disable_irq();
  /* Halt here. If an IWDG is added later, remove this loop so the watchdog
     resets the board instead of leaving it stuck. */
  while (1)
  {
  }
  /* USER CODE END Error_Handler_Debug */
}

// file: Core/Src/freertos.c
/* USER CODE BEGIN Header */
/**
  ******************************************************************************
  * File Name          : freertos.c
  * Description        : Code for freertos applications
  ******************************************************************************
  * @attention
  *
  * <h2><center>&copy; Copyright (c) 2020 STMicroelectronics.
  * All rights reserved.</center></h2>
  *
  * This software component is licensed by ST under Ultimate Liberty license
  * SLA0044, the "License"; You may not use this file except in compliance with
  * the License. You may obtain a copy of the License at:
  *                             www.st.com/SLA0044
  *
  ******************************************************************************
  */
/* USER CODE END Header */

#include "FreeRTOS.h"
#include "task.h"
#include "main.h"

/* USER CODE BEGIN Includes */
#include "cmsis_os2.h"
#include <string.h>
#include "vehicle_data.h"
#include "dummy_data_provider.h"

/* USER CODE END Includes */

/* USER CODE BEGIN FunctionPrototypes */
extern portBASE_TYPE IdleTaskHook(void* p);
/* USER CODE END FunctionPrototypes */

/* Hook prototypes */
void vApplicationIdleHook(void);

/* USER CODE BEGIN 2 */
void vApplicationIdleHook( void )
{
   /* vApplicationIdleHook() will only be called if configUSE_IDLE_HOOK is set
   to 1 in FreeRTOSConfig.h. It will be called on each iteration of the idle
   task. It is essential that code added to this hook function never attempts
   to block in any way (for example, call xQueueReceive() with a block time
   specified, or call vTaskDelay()). If the application makes use of the
   vTaskDelete() API function (as this demo application does) then it is also
   important that vApplicationIdleHook() is permitted to return to its calling
   function, because it is the responsibility of the idle task to clean up
   memory allocated by the kernel to any task that has since been deleted. */

  vTaskSetApplicationTaskTag(NULL, IdleTaskHook);
}
/* USER CODE END 2 */

/* USER CODE BEGIN Application */
/* Bench-only Classic CAN loopback. No SDV network contract is defined here. */
extern FDCAN_HandleTypeDef hfdcan2;
typedef struct {
  FDCAN_RxHeaderTypeDef header;
  uint8_t data[8];
} LoopbackFrame;
typedef struct {
  uint32_t state; /* 0 idle, 1 running, 2 PASS, 3 FAIL */
  uint32_t tx_count, rx_count, pass_count, mismatch_count, timeout_count;
  uint32_t irq_count, queue_overflow, rx_error, api_error;
  uint32_t last_hal_error, tx_error_counter, rx_error_counter, bus_off;
  uint32_t stack_free_bytes;
} LoopbackStats;
volatile LoopbackStats g_fdcan_loopback;
static osMessageQueueId_t loopbackQueue;
static const osThreadAttr_t loopbackTaskAttr = {
  .name = "CanLoopback", .stack_size = 2048, .priority = osPriorityBelowNormal
};

static uint32_t LoopbackTicks(uint32_t ms)
{
  return (osKernelGetTickFreq() * ms + 999U) / 1000U;
}

void HAL_FDCAN_RxFifo0Callback(FDCAN_HandleTypeDef *h, uint32_t flags)
{
  if (h->Instance != FDCAN2 || !(flags & FDCAN_IT_RX_FIFO0_NEW_MESSAGE)) return;
  ++g_fdcan_loopback.irq_count;
  /* Bounded drain; comparison stays in the task. */
  for (uint32_t i = 0; i < 8U && HAL_FDCAN_GetRxFifoFillLevel(h, FDCAN_RX_FIFO0); ++i) {
    LoopbackFrame f = {0};
    if (HAL_FDCAN_GetRxMessage(h, FDCAN_RX_FIFO0, &f.header, f.data) != HAL_OK) {
      ++g_fdcan_loopback.rx_error;
      break;
    }
    if (osMessageQueuePut(loopbackQueue, &f, 0, 0) != osOK)
      ++g_fdcan_loopback.queue_overflow;
  }
}

static void LoopbackTask(void *argument)
{
  (void)argument;
  FDCAN_FilterTypeDef filter = {0};
  FDCAN_TxHeaderTypeDef tx = {0};
  FDCAN_ErrorCountersTypeDef errors = {0};
  FDCAN_ProtocolStatusTypeDef protocol = {0};
  g_fdcan_loopback.state = 1;
  /* Never transmit the bench ID on a physical bus by accidental mode change. */
  if (hfdcan2.Init.Mode != FDCAN_MODE_INTERNAL_LOOPBACK ||
      hfdcan2.Init.FrameFormat != FDCAN_FRAME_CLASSIC) goto fail;
  filter.IdType = FDCAN_STANDARD_ID;
  filter.FilterIndex = 0;
  filter.FilterType = FDCAN_FILTER_MASK;
  filter.FilterConfig = FDCAN_FILTER_TO_RXFIFO0;
  filter.FilterID1 = 0x123;
  filter.FilterID2 = 0x7FF;
  if (HAL_FDCAN_ConfigFilter(&hfdcan2, &filter) != HAL_OK ||
      HAL_FDCAN_ConfigGlobalFilter(&hfdcan2, FDCAN_REJECT, FDCAN_REJECT,
        FDCAN_REJECT_REMOTE, FDCAN_REJECT_REMOTE) != HAL_OK ||
      HAL_FDCAN_ConfigInterruptLines(&hfdcan2, FDCAN_IT_RX_FIFO0_NEW_MESSAGE,
        FDCAN_INTERRUPT_LINE0) != HAL_OK ||
      HAL_FDCAN_ActivateNotification(&hfdcan2, FDCAN_IT_RX_FIFO0_NEW_MESSAGE, 0) != HAL_OK ||
      HAL_FDCAN_Start(&hfdcan2) != HAL_OK) goto fail;
  tx.Identifier = 0x123;
  tx.IdType = FDCAN_STANDARD_ID;
  tx.TxFrameType = FDCAN_DATA_FRAME;
  tx.DataLength = FDCAN_DLC_BYTES_8;
  tx.ErrorStateIndicator = FDCAN_ESI_ACTIVE;
  tx.BitRateSwitch = FDCAN_BRS_OFF;
  tx.FDFormat = FDCAN_CLASSIC_CAN;
  tx.TxEventFifoControl = FDCAN_NO_TX_EVENTS;
  for (uint32_t sequence = 0; sequence < 100U; ++sequence) {
    uint8_t data[8] = {0x53, 0x44, 0x56, 0, 0, 0, 0, 0xA5};
    LoopbackFrame received;
    data[3] = (uint8_t)sequence;
    data[4] = (uint8_t)(sequence >> 8);
    data[5] = (uint8_t)(sequence >> 16);
    data[6] = (uint8_t)(sequence >> 24);
    if (HAL_FDCAN_AddMessageToTxFifoQ(&hfdcan2, &tx, data) != HAL_OK) goto fail;
    ++g_fdcan_loopback.tx_count;
    if (osMessageQueueGet(loopbackQueue, &received, NULL, LoopbackTicks(100)) != osOK) {
      ++g_fdcan_loopback.timeout_count;
      goto fail;
    }
    ++g_fdcan_loopback.rx_count;
    if (received.header.Identifier != tx.Identifier || received.header.IdType != FDCAN_STANDARD_ID ||
        received.header.RxFrameType != FDCAN_DATA_FRAME || received.header.DataLength != FDCAN_DLC_BYTES_8 ||
        received.header.FDFormat != FDCAN_CLASSIC_CAN || memcmp(data, received.data, 8) != 0) {
      ++g_fdcan_loopback.mismatch_count;
      goto fail;
    }
    if (HAL_FDCAN_GetErrorCounters(&hfdcan2, &errors) != HAL_OK ||
        HAL_FDCAN_GetProtocolStatus(&hfdcan2, &protocol) != HAL_OK) goto fail;
    g_fdcan_loopback.tx_error_counter = errors.TxErrorCnt;
    g_fdcan_loopback.rx_error_counter = errors.RxErrorCnt;
    g_fdcan_loopback.bus_off = protocol.BusOff;
    if (errors.TxErrorCnt || errors.RxErrorCnt || protocol.BusOff ||
        g_fdcan_loopback.queue_overflow || g_fdcan_loopback.rx_error) goto fail;
    ++g_fdcan_loopback.pass_count;
    g_fdcan_loopback.stack_free_bytes = osThreadGetStackSpace(osThreadGetId());
    osDelay(LoopbackTicks(100));
  }
  if (HAL_FDCAN_Stop(&hfdcan2) != HAL_OK) goto fail;
  g_fdcan_loopback.state = 2;
  osThreadExit();
  return;
fail:
  g_fdcan_loopback.last_hal_error = HAL_FDCAN_GetError(&hfdcan2);
  if (!g_fdcan_loopback.timeout_count && !g_fdcan_loopback.mismatch_count)
    ++g_fdcan_loopback.api_error;
  (void)HAL_FDCAN_Stop(&hfdcan2);
  g_fdcan_loopback.state = 3;
  osThreadExit();
}

void CanLoopback_Create(void)
{
  loopbackQueue = osMessageQueueNew(8, sizeof(LoopbackFrame), NULL);
  if (loopbackQueue == NULL || osThreadNew(LoopbackTask, NULL, &loopbackTaskAttr) == NULL) {
    g_fdcan_loopback.api_error = 1;
    g_fdcan_loopback.state = 3;
  }
}

/* ---- VehicleModelTask + VehicleDataRepository (see Core/Inc/vehicle_data.h) ---- */

#define VEHICLE_MODEL_PERIOD_MS   100u
#define DRIVE_TIMEOUT_MS          500u
#define GEAR_READY_TIMEOUT_MS     800u
#define WARNING_TIMEOUT_MS        3000u
#define UPDATE_QUEUE_DEPTH        8u
#define REPO_LOCK_WAIT_MS         20u

VehicleDataSnapshot g_vehicle_data;

static osMessageQueueId_t s_updateQueue;
static osMutexId_t s_repoMutex;

static DriveSignal s_drive;
static GearReadySignal s_gearReady;
static WarningSignal s_warning;

static const osThreadAttr_t vehicleModelTaskAttr = {
  .name = "VehicleModel", .stack_size = 1024, .priority = (osPriority_t) osPriorityAboveNormal
};

static uint32_t VehicleModelTicks(uint32_t ms)
{
  return (osKernelGetTickFreq() * ms + 999u) / 1000u;
}

/* now - last_update_tick as unsigned wraps correctly across tick overflow. */
static SignalStatus ComputeSignalStatus(uint8_t received, uint8_t source_valid,
                                         uint32_t last_update_tick, uint32_t now,
                                         uint32_t timeout_ticks)
{
  if (!received) return SIGNAL_NO_DATA;
  if (!source_valid) return SIGNAL_INVALID;
  if ((uint32_t)(now - last_update_tick) > timeout_ticks) return SIGNAL_TIMEOUT;
  return SIGNAL_VALID;
}

static void VehicleModel_ApplyUpdate(const VehicleUpdateMsg *msg, uint32_t now)
{
  switch (msg->type) {
    case VEHICLE_UPDATE_DRIVE:
      s_drive.speed_kmh = msg->payload.drive.speed_kmh;
      s_drive.rpm = msg->payload.drive.rpm;
      s_drive.source_valid = msg->payload.drive.source_valid;
      s_drive.received = 1;
      s_drive.last_update_tick = now;
      break;
    case VEHICLE_UPDATE_GEAR_READY:
      s_gearReady.gear = msg->payload.gear_ready.gear;
      s_gearReady.ready = msg->payload.gear_ready.ready;
      s_gearReady.source_valid = msg->payload.gear_ready.source_valid;
      s_gearReady.received = 1;
      s_gearReady.last_update_tick = now;
      break;
    case VEHICLE_UPDATE_WARNING:
      s_warning.severity = msg->payload.warning.severity;
      s_warning.active = msg->payload.warning.active;
      s_warning.received = 1;
      s_warning.last_update_tick = now;
      break;
    default:
      break;
  }
}

static void VehicleModelTask(void *argument)
{
  (void)argument;
  memset(&s_drive, 0, sizeof(s_drive));
  memset(&s_gearReady, 0, sizeof(s_gearReady));
  memset(&s_warning, 0, sizeof(s_warning));
  s_gearReady.gear = '-';

  for (;;) {
    VehicleUpdateMsg msg;
    osStatus_t got = osMessageQueueGet(s_updateQueue, &msg, NULL,
                                        VehicleModelTicks(VEHICLE_MODEL_PERIOD_MS));
    uint32_t now = osKernelGetTickCount();

    if (got == osOK) {
      VehicleModel_ApplyUpdate(&msg, now);
    }

    /* Recompute every wake, whether or not a message arrived, so a signal
     * that simply stopped updating still ages into SIGNAL_TIMEOUT. */
    s_drive.status = ComputeSignalStatus(s_drive.received, s_drive.source_valid,
                                          s_drive.last_update_tick, now,
                                          VehicleModelTicks(DRIVE_TIMEOUT_MS));
    s_gearReady.status = ComputeSignalStatus(s_gearReady.received, s_gearReady.source_valid,
                                              s_gearReady.last_update_tick, now,
                                              VehicleModelTicks(GEAR_READY_TIMEOUT_MS));
    s_warning.status = ComputeSignalStatus(s_warning.received, 1u,
                                            s_warning.last_update_tick, now,
                                            VehicleModelTicks(WARNING_TIMEOUT_MS));

    if (osMutexAcquire(s_repoMutex, VehicleModelTicks(REPO_LOCK_WAIT_MS)) == osOK) {
      g_vehicle_data.drive = s_drive;
      g_vehicle_data.gear_ready = s_gearReady;
      g_vehicle_data.warning = s_warning;
      g_vehicle_data.demo_source = 1u;
      g_vehicle_data.snapshot_version++;
      osMutexRelease(s_repoMutex);
    }
  }
}

void VehicleModel_Create(void)
{
  memset(&g_vehicle_data, 0, sizeof(g_vehicle_data));
  g_vehicle_data.gear_ready.gear = '-';

  s_repoMutex = osMutexNew(NULL);
  s_updateQueue = osMessageQueueNew(UPDATE_QUEUE_DEPTH, sizeof(VehicleUpdateMsg), NULL);
  if (s_repoMutex == NULL || s_updateQueue == NULL ||
      osThreadNew(VehicleModelTask, NULL, &vehicleModelTaskAttr) == NULL) {
    /* Nothing to fall back to for the dummy phase; the NO_DATA/'-' init
     * state left in g_vehicle_data is the safe failure. */
  }
}

uint8_t VehicleModel_PushUpdate(const VehicleUpdateMsg *msg)
{
  if (s_updateQueue == NULL) return 0u;
  return (osMessageQueuePut(s_updateQueue, msg, 0, 0) == osOK) ? 1u : 0u;
}

uint8_t VehicleModel_GetSnapshot(VehicleDataSnapshot *out, uint32_t wait_ms)
{
  if (s_repoMutex == NULL) return 0u;
  if (osMutexAcquire(s_repoMutex, VehicleModelTicks(wait_ms)) != osOK) return 0u;
  *out = g_vehicle_data;
  osMutexRelease(s_repoMutex);
  return 1u;
}

/* ---- DummyDataProvider (see Core/Inc/dummy_data_provider.h) ----
 * Bench-only signal source for the Cluster data path before real CAN
 * exists. Only calls VehicleModel_PushUpdate(); never touches the GUI.
 * Example values (speed=24, rpm=1250, gear=D) are the guide's bench
 * defaults, not a vehicle spec. */

#define DUMMY_PERIOD_MS   200u

volatile DummyMode g_dummy_mode = DUMMY_MODE_NORMAL;
volatile DummyDataStats g_dummy_stats;

static const osThreadAttr_t dummyDataTaskAttr = {
  .name = "DummyDataProvider", .stack_size = 768, .priority = (osPriority_t) osPriorityNormal
};

static void DummyData_Push(const VehicleUpdateMsg *msg)
{
  g_dummy_stats.update_count++;
  if (!VehicleModel_PushUpdate(msg)) {
    g_dummy_stats.queue_overflow++;
  }
}

static void DummyDataTask(void *argument)
{
  (void)argument;
  uint32_t counter = 0;

  for (;;) {
    DummyMode mode = g_dummy_mode;
    int32_t wobble = (int32_t)(counter % 7u) - 3; /* -3..+3, just to show motion */

    if (mode != DUMMY_MODE_PAUSE_DRIVE) {
      VehicleUpdateMsg drive = {0};
      drive.type = VEHICLE_UPDATE_DRIVE;
      drive.payload.drive.speed_kmh = 24 + wobble;
      drive.payload.drive.rpm = 1250 + wobble * 10;
      drive.payload.drive.source_valid = (mode != DUMMY_MODE_SOURCE_INVALID) ? 1u : 0u;
      DummyData_Push(&drive);
    }
    /* PAUSE_DRIVE intentionally sends nothing here: DUMMY-04 relies on
     * VehicleModelTask aging this signal into SIGNAL_TIMEOUT on its own. */

    {
      VehicleUpdateMsg gearReady = {0};
      gearReady.type = VEHICLE_UPDATE_GEAR_READY;
      gearReady.payload.gear_ready.gear = 'D';
      gearReady.payload.gear_ready.ready = 1u;
      gearReady.payload.gear_ready.source_valid = (mode != DUMMY_MODE_SOURCE_INVALID) ? 1u : 0u;
      DummyData_Push(&gearReady);
    }

    {
      VehicleUpdateMsg warning = {0};
      warning.type = VEHICLE_UPDATE_WARNING;
      if (mode == DUMMY_MODE_CRITICAL) {
        warning.payload.warning.severity = WARNING_CRITICAL;
        warning.payload.warning.active = 1u;
      } else {
        warning.payload.warning.severity = WARNING_NONE;
        warning.payload.warning.active = 0u;
      }
      DummyData_Push(&warning);
    }

    counter++;
    osDelay((osKernelGetTickFreq() * DUMMY_PERIOD_MS + 999u) / 1000u);
  }
}

void DummyDataProvider_Create(void)
{
  (void)osThreadNew(DummyDataTask, NULL, &dummyDataTaskAttr);
}

/* USER CODE END Application */
